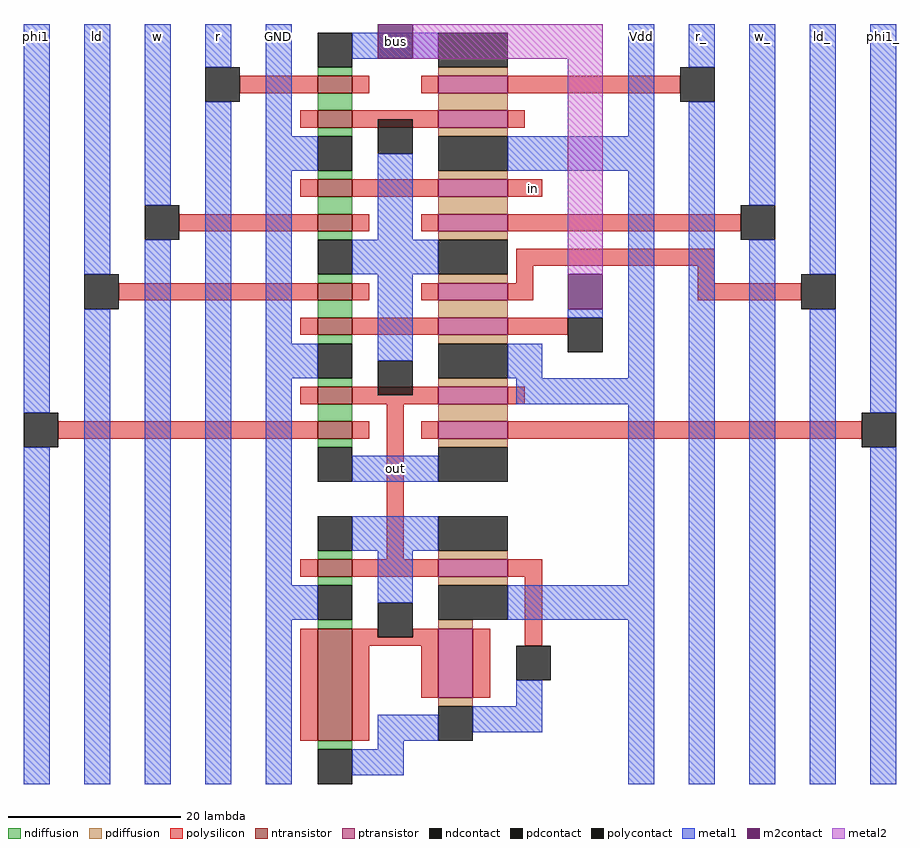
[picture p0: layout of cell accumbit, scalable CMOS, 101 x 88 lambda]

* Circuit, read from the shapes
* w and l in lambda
.subckt accumbit GND Vdd bus in ld ld_ out phi1 phi1_ r r_ w w_
M1 GND staticizer_0/inverter_0/out latch_0/in VSUBS nfet w=4 l=13
M2 staticizer_0/inverter_0/out latch_0/in GND VSUBS nfet w=4 l=2
M3 n1 phi1 out VSUBS nfet w=4 l=2
M4 GND latch_0/in n1 VSUBS nfet w=4 l=2
M5 n2 bus GND VSUBS nfet w=4 l=2
M6 latch_0/in ld n2 VSUBS nfet w=4 l=2
M7 n3 w latch_0/in VSUBS nfet w=4 l=2
M8 GND in n3 VSUBS nfet w=4 l=2
M9 n4 latch_0/in GND VSUBS nfet w=4 l=2
M10 bus r n4 VSUBS nfet w=4 l=2
M11 Vdd staticizer_0/inverter_0/out latch_0/in NWELL pfet w=4 l=8
M12 staticizer_0/inverter_0/out latch_0/in Vdd NWELL pfet w=8 l=2
M13 n5 phi1_ out NWELL pfet w=8 l=2
M14 Vdd latch_0/in n5 NWELL pfet w=8 l=2
M15 n6 bus Vdd NWELL pfet w=8 l=2
M16 latch_0/in ld_ n6 NWELL pfet w=8 l=2
M17 n7 w_ latch_0/in NWELL pfet w=8 l=2
M18 Vdd in n7 NWELL pfet w=8 l=2
M19 n8 latch_0/in Vdd NWELL pfet w=8 l=2
M20 bus r_ n8 NWELL pfet w=8 l=2
.ends

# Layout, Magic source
magic
tech scmos
<< polysilicon >>
rect -10 11 -3 13
rect 23 11 41 13
rect 23 -1 25 1
rect -17 -5 -3 -3
rect 23 -5 48 -3
rect 22 -9 45 -7
rect -24 -13 -3 -11
rect 22 -13 24 -9
rect 43 -11 45 -9
rect 43 -13 55 -11
rect 23 -17 28 -15
rect -31 -29 -3 -27
rect 7 -43 9 -24
rect 23 -29 62 -27
<< metal1 >>
rect -35 -26 -32 19
rect -28 -10 -25 19
rect -21 -2 -18 19
rect -14 14 -11 19
rect -35 -69 -32 -30
rect -28 -69 -25 -14
rect -21 -69 -18 -6
rect -14 -69 -11 10
rect -7 6 -4 19
rect -7 2 -1 6
rect 35 6 38 19
rect 42 14 45 19
rect -7 -18 -4 2
rect -7 -22 -1 -18
rect 6 -20 10 4
rect 21 2 38 6
rect 28 -15 32 -14
rect -7 -46 -4 -22
rect 21 -22 25 -18
rect 35 -22 38 2
rect 22 -25 38 -22
rect 6 -34 10 -31
rect 35 -46 38 -25
rect -7 -50 -1 -46
rect 27 -50 38 -46
rect -7 -69 -4 -50
rect 35 -69 38 -50
rect 42 -69 45 10
rect 49 -2 52 19
rect 49 -69 52 -6
rect 56 -10 59 19
rect 56 -69 59 -14
rect 63 -26 66 19
rect 63 -69 66 -30
<< metal2 >>
rect 10 15 32 19
rect 28 -10 32 15
<< polycontact >>
rect -14 10 -10 14
rect 41 10 45 14
rect 6 4 10 8
rect -21 -6 -17 -2
rect 48 -6 52 -2
rect -28 -14 -24 -10
rect 55 -14 59 -10
rect 28 -19 32 -15
rect 6 -24 10 -20
rect -35 -30 -31 -26
rect 62 -30 66 -26
<< m2contact >>
rect 6 15 10 19
rect 28 -14 32 -10
use latch  latch_0
transform 0 1 -1 1 0 8
box -6 -2 10 24
use latch  latch_1
transform 0 1 -1 -1 0 0
box -6 -2 10 24
use latch  latch_3
transform 0 1 -1 1 0 -16
box -6 -2 10 24
use latch  latch_2
transform 0 1 -1 -1 0 -24
box -6 -2 10 24
use staticizer  staticizer_0
transform 0 1 -5 1 0 -50
box -19 2 12 32
<< labels >>
rlabel metal1 35 16 38 19 6 Vdd
rlabel metal1 6 -34 10 -31 1 out
rlabel metal1 -7 16 -4 19 4 GND
rlabel m2contact 6 15 10 19 5 bus
rlabel metal1 -14 16 -11 19 5 r
rlabel metal1 42 16 45 19 5 r_
rlabel polysilicon 24 0 24 0 1 in
rlabel metal1 -21 16 -18 19 5 w
rlabel metal1 49 16 52 19 5 w_
rlabel metal1 56 16 59 19 5 ld_
rlabel metal1 -28 16 -25 19 5 ld
rlabel metal1 -35 16 -32 19 4 phi1
rlabel metal1 63 16 66 19 6 phi1_
<< end >>

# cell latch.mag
magic
tech scmos
<< polysilicon >>
rect -1 22 1 24
rect 3 22 5 24
rect -1 4 1 14
rect 3 12 5 14
rect 3 4 5 6
rect -1 -2 1 0
rect 3 -2 5 0
<< ndiffusion >>
rect -2 0 -1 4
rect 1 0 3 4
rect 5 0 6 4
<< pdiffusion >>
rect -2 14 -1 22
rect 1 14 3 22
rect 5 14 6 22
<< metal1 >>
rect 7 4 10 14
<< ntransistor >>
rect -1 0 1 4
rect 3 0 5 4
<< ptransistor >>
rect -1 14 1 22
rect 3 14 5 22
<< ndcontact >>
rect -6 0 -2 4
rect 6 0 10 4
<< pdcontact >>
rect -6 14 -2 22
rect 6 14 10 22
<< labels >>
rlabel polysilicon 3 22 5 24 5 latch_
rlabel polysilicon 3 -2 5 0 1 latch
rlabel pdcontact -6 14 -2 22 3 Vdd
rlabel ndcontact -6 0 -2 4 2 GND
rlabel polysilicon -1 8 1 10 1 in
rlabel metal1 7 8 10 10 7 out
<< end >>

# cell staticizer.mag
magic
tech scmos
<< polysilicon >>
rect -3 28 7 30
rect -9 22 -1 24
rect -9 16 -1 18
rect -3 15 -1 16
rect -3 11 -2 15
rect -3 10 -1 11
rect -14 8 -1 10
rect -14 2 -1 4
<< ndiffusion >>
rect -15 4 -14 8
rect -1 4 0 8
<< pdiffusion >>
rect -10 18 -9 22
rect -1 18 0 22
<< metal1 >>
rect -13 27 -7 30
rect -13 22 -10 27
rect 0 26 4 32
rect -14 14 -11 18
rect -18 11 -11 14
rect 2 11 12 15
rect -18 8 -15 11
<< ntransistor >>
rect -14 4 -1 8
<< ptransistor >>
rect -9 18 -1 22
<< polycontact >>
rect -7 27 -3 31
rect -2 11 2 15
<< ndcontact >>
rect -19 4 -15 8
rect 0 4 4 8
<< pdcontact >>
rect -14 18 -10 22
rect 0 18 4 26
use inverter  inverter_0
transform 1 0 5 0 1 -3
box -5 5 7 31
<< labels >>
rlabel metal1 0 28 4 32 5 Vdd
rlabel ndcontact 0 4 4 8 1 GND
rlabel polycontact -7 27 -3 31 5 in
<< end >>

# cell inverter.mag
magic
tech scmos
<< polysilicon >>
rect 0 29 2 31
rect 0 11 2 21
rect 0 5 2 7
<< ndiffusion >>
rect -1 7 0 11
rect 2 7 3 11
<< pdiffusion >>
rect -1 21 0 29
rect 2 21 3 29
<< metal1 >>
rect 3 11 7 21
<< ntransistor >>
rect 0 7 2 11
<< ptransistor >>
rect 0 21 2 29
<< ndcontact >>
rect -5 7 -1 11
rect 3 7 7 11
<< pdcontact >>
rect -5 21 -1 29
rect 3 21 7 29
<< labels >>
rlabel metal1 5 16 5 16 7 out
<< end >>
